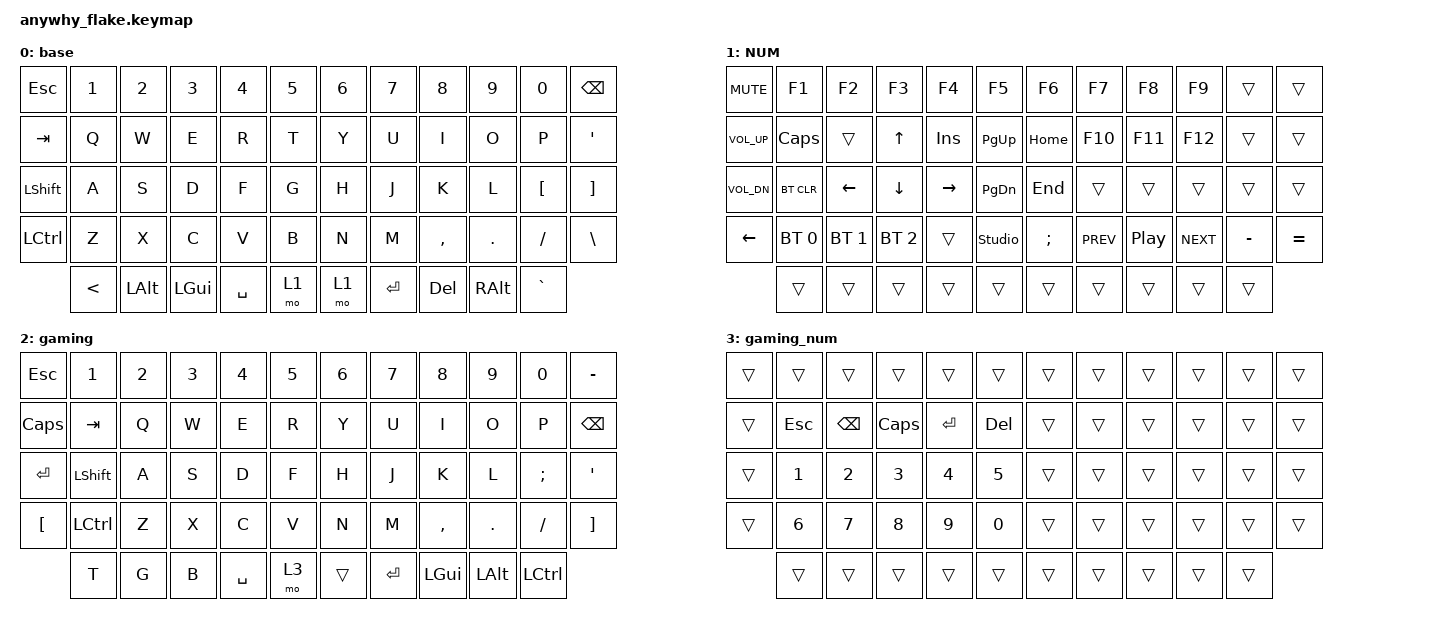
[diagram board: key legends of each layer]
#include <behaviors.dtsi>
#include <dt-bindings/zmk/bt.h>
#include <dt-bindings/zmk/keys.h>

/ {
    combos {
        compatible = "zmk,combos";

        bt_sel_3 {
            bindings = <&bt3>;
            key-positions = <42 30>;
        };

        bt_sel_4 {
            bindings = <&bt4>;
            key-positions = <30 18>;
        };

        enter_gaming {
            bindings = <&sl 2>;
            key-positions = <26 15 28>;
        };

        leave_gaming {
            bindings = <&sl 0>;
            key-positions = <31 20 33>;
            layers = <3>;
        };

        grave {
            bindings = <&kp GRAVE>;
            key-positions = <13 25>;
            layers = <2>;
        };
    };

    macros {
        bt_clr_0: bt_clr_0 {
            compatible = "zmk,behavior-macro";
            #binding-cells = <0>;
            bindings = <&bt BT_SEL 0 &bt BT_CLR>;
            label = "BT_CLR_0";
        };

        bt_clr_1: bt_clr_1 {
            compatible = "zmk,behavior-macro";
            #binding-cells = <0>;
            bindings = <&bt BT_SEL 1 &bt BT_CLR>;
            label = "BT_CLR_1";
        };

        bt_clr_2: bt_clr_2 {
            compatible = "zmk,behavior-macro";
            #binding-cells = <0>;
            bindings = <&bt BT_SEL 2 &bt BT_CLR>;
            label = "BT_CLR_2";
        };

        bt_clr_3: bt_clr_3 {
            compatible = "zmk,behavior-macro";
            #binding-cells = <0>;
            bindings = <&bt BT_SEL 3 &bt BT_CLR>;
            label = "BT_CLR_3";
        };

        bt_clr_4: bt_clr_4 {
            compatible = "zmk,behavior-macro";
            #binding-cells = <0>;
            bindings = <&bt BT_SEL 4 &bt BT_CLR>;
            label = "BT_CLR_4";
        };
    };

    behaviors {
        bt0: bt0 {
            compatible = "zmk,behavior-mod-morph";
            label = "BT0";
            bindings = <&bt BT_SEL 0>, <&bt_clr_0>;

            #binding-cells = <0>;
            mods = <(MOD_LSFT|MOD_RSFT)>;
        };

        bt1: bt1 {
            compatible = "zmk,behavior-mod-morph";
            label = "BT1";
            bindings = <&bt BT_SEL 1>, <&bt_clr_1>;

            #binding-cells = <0>;
            mods = <(MOD_LSFT|MOD_RSFT)>;
        };

        bt2: bt2 {
            compatible = "zmk,behavior-mod-morph";
            label = "BT2";
            bindings = <&bt BT_SEL 2>, <&bt_clr_2>;

            #binding-cells = <0>;
            mods = <(MOD_LSFT|MOD_RSFT)>;
        };

        bt3: bt3 {
            compatible = "zmk,behavior-mod-morph";
            label = "BT3";
            bindings = <&bt BT_SEL 3>, <&bt_clr_3>;

            #binding-cells = <0>;
            mods = <(MOD_LSFT|MOD_RSFT)>;
        };

        bt4: bt4 {
            compatible = "zmk,behavior-mod-morph";
            label = "BT4";
            bindings = <&bt BT_SEL 4>, <&bt_clr_4>;

            #binding-cells = <0>;
            mods = <(MOD_LSFT|MOD_RSFT)>;
        };
    };

    keymap {
        compatible = "zmk,keymap";

        base {
            bindings = <
&kp ESC           &kp N1         &kp N2    &kp N3    &kp N4     &kp N5    &kp N6  &kp N7     &kp N8      &kp N9         &kp N0            &kp BSPC
&kp TAB           &kp Q          &kp W     &kp E     &kp R      &kp T     &kp Y   &kp U      &kp I       &kp O          &kp P             &kp APOS
&kp LEFT_SHIFT    &kp A          &kp S     &kp D     &kp F      &kp G     &kp H   &kp J      &kp K       &kp L          &kp LEFT_BRACKET  &kp RIGHT_BRACKET
&kp LEFT_CONTROL  &kp Z          &kp X     &kp C     &kp V      &kp B     &kp N   &kp M      &kp COMMA   &kp DOT        &kp FSLH          &kp BSLH
                  &kp LESS_THAN  &kp LALT  &kp LGUI  &kp SPACE  &mo 1     &mo 1   &kp ENTER  &kp DELETE  &kp RIGHT_ALT  &kp GRAVE
            >;
        };

        NUM {
            bindings = <
&kp C_MUTE    &kp F1        &kp F2          &kp F3          &kp F4           &kp F5            &kp F6    &kp F7      &kp F8            &kp F9      &trans     &trans
&kp C_VOL_UP  &kp CAPSLOCK  &trans          &kp UP_ARROW    &kp INS          &kp PAGE_UP       &kp HOME  &kp F10     &kp F11           &kp F12     &trans     &trans
&kp C_VOL_DN  &bt BT_CLR    &kp LEFT_ARROW  &kp DOWN_ARROW  &kp RIGHT_ARROW  &kp PAGE_DOWN     &kp END   &trans      &trans            &trans      &trans     &trans
&kp LEFT      &bt BT_SEL 0  &bt BT_SEL 1    &bt BT_SEL 2    &trans           &studio_unlock    &kp SEMI  &kp C_PREV  &kp C_PLAY_PAUSE  &kp C_NEXT  &kp MINUS  &kp EQUAL
              &trans        &trans          &trans          &trans           &trans            &trans    &trans      &trans            &trans      &trans
            >;
        };

        gaming {
            bindings = <
&kp ESC    &kp N1     &kp N2  &kp N3  &kp N4     &kp N5    &kp N6  &kp N7     &kp N8     &kp N9    &kp N0     &kp MINUS
&kp CAPS   &kp TAB    &kp Q   &kp W   &kp E      &kp R     &kp Y   &kp U      &kp I      &kp O     &kp P      &kp BSPC
&kp ENTER  &kp LSHFT  &kp A   &kp S   &kp D      &kp F     &kp H   &kp J      &kp K      &kp L     &kp SEMI   &kp APOS
&kp LBKT   &kp LCTRL  &kp Z   &kp X   &kp C      &kp V     &kp N   &kp M      &kp COMMA  &kp DOT   &kp FSLH   &kp RBKT
           &kp T      &kp G   &kp B   &kp SPACE  &mo 3     &trans  &kp ENTER  &kp LGUI   &kp LALT  &kp LCTRL
            >;
        };

        gaming_num {
            bindings = <
&trans  &trans   &trans    &trans    &trans     &trans     &trans  &trans  &trans  &trans  &trans  &trans
&trans  &kp ESC  &kp BSPC  &kp CAPS  &kp ENTER  &kp DEL    &trans  &trans  &trans  &trans  &trans  &trans
&trans  &kp N1   &kp N2    &kp N3    &kp N4     &kp N5     &trans  &trans  &trans  &trans  &trans  &trans
&trans  &kp N6   &kp N7    &kp N8    &kp N9     &kp N0     &trans  &trans  &trans  &trans  &trans  &trans
        &trans   &trans    &trans    &trans     &trans     &trans  &trans  &trans  &trans  &trans
            >;
        };
    };
};
